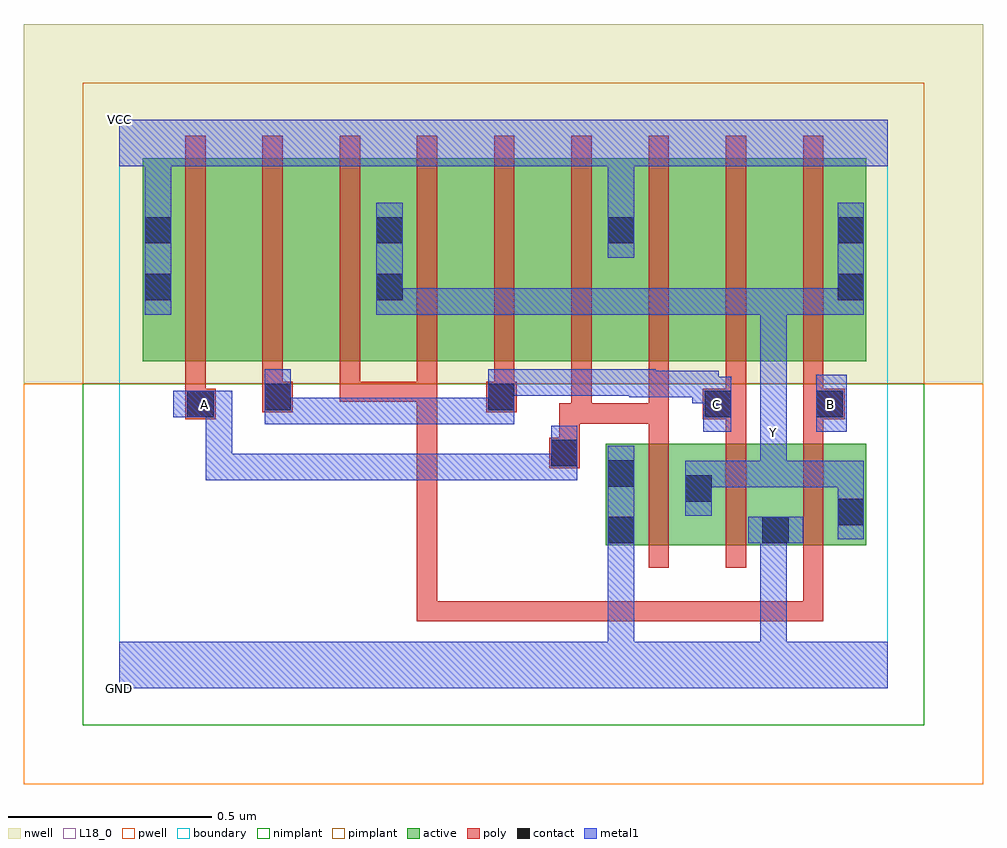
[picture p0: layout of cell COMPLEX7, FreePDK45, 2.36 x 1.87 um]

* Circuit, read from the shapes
.subckt COMPLEX7 A B C GND VCC Y
M1 Y A GND VSUBS nfet w=0.25u l=0.05u
M2 GND C Y VSUBS nfet w=0.25u l=0.05u
M3 Y B GND VSUBS nfet w=0.25u l=0.05u
M4 n1 A VCC n2 pfet w=0.5u l=0.05u
M5 n3 C n1 n2 pfet w=0.5u l=0.05u
M6 Y B n3 n2 pfet w=0.5u l=0.05u
M7 n4 B Y n2 pfet w=0.5u l=0.05u
M8 n5 C n4 n2 pfet w=0.5u l=0.05u
M9 VCC A n5 n2 pfet w=0.5u l=0.05u
M10 n6 A VCC n2 pfet w=0.5u l=0.05u
M11 n7 C n6 n2 pfet w=0.5u l=0.05u
M12 Y B n7 n2 pfet w=0.5u l=0.05u
.ends

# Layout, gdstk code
import gdstk
lib = gdstk.Library(unit=1e-6, precision=1e-09)
def R(c, l, rs):  # rectangles x0, y0, x1, y1
    for r in rs: c.add(gdstk.rectangle(r[:2], r[2:], *l))
def A(c, l, x, y, w, h, nx, ny, dx, dy):  # array of equal rectangles
    R(c, l, [(x+i*dx, y+j*dy, x+i*dx+w, y+j*dy+h) for i in range(nx) for j in range(ny)])
active = (1, 0)
pwell = (2, 0)
nwell = (3, 0)
nimplant = (4, 0)
pimplant = (5, 0)
poly = (9, 0)
contact = (10, 0)
metal1 = (11, 0)
L18_0 = (18, 0)
boundary = (235, 0)

complex7 = lib.new_cell('COMPLEX7')
A(complex7, active, 0.057, 0.805, 0.225, 0.5, 3, 1, 0.57, 0)
A(complex7, active, 0.282, 0.805, 0.19, 0.5, 3, 1, 0.57, 0)
R(complex7, active, [(1.197,0.352,1.462,0.602), (1.197,0.352,1.272,0.602), (1.387,0.352,1.652,0.602), (1.387,0.352,1.462,0.53), (1.577,0.352,1.837,0.602), (1.577,0.352,1.652,0.462), (1.762,0.382,1.837,0.602), (0.057,0.805,0.132,1.305), (0.472,0.805,0.702,1.305), (0.627,0.805,0.702,1.2), (1.042,0.805,1.272,1.305), (1.197,0.805,1.272,1.305), (1.612,0.805,1.837,1.305), (1.762,0.805,1.837,1.2)])
R(complex7, pwell, [(-0.235,-0.235,2.125,0.75)])
R(complex7, nwell, [(-0.235,0.75,2.125,1.635)])
R(complex7, nimplant, [(-0.09,-0.09,1.98,0.75)])
R(complex7, pimplant, [(-0.09,0.75,1.98,1.49)])
A(complex7, poly, 1.302, 0.297, 0.05, 0.36, 3, 1, 0.19, 0)
A(complex7, poly, 0.352, 0.705, 0.05, 0.095, 4, 1, 0.19, 0)
A(complex7, poly, 0.162, 0.75, 0.05, 0.61, 9, 1, 0.19, 0)
R(complex7, poly, [(0.732,0.165,0.782,0.215), (0.732,0.165,0.782,0.215), (0.732,0.165,0.782,0.215), (0.732,0.165,0.915,0.215), (0.732,0.165,0.782,0.755), (0.865,0.165,0.915,0.215), (0.865,0.165,1.162,0.215), (1.112,0.165,1.162,0.215), (1.112,0.165,1.162,0.215), (1.112,0.165,1.162,0.215), (1.112,0.165,1.295,0.215), (1.245,0.165,1.295,0.215), (1.245,0.165,1.295,0.215), (1.245,0.165,1.295,0.215), (1.245,0.165,1.485,0.215), (1.435,0.165,1.485,0.215), (1.435,0.165,1.485,0.215), (1.435,0.165,1.485,0.215), (1.435,0.165,1.732,0.215), (1.682,0.165,1.732,0.347), (1.682,0.165,1.732,0.215), (1.682,0.165,1.732,0.215), (1.682,0.165,1.732,0.215), (1.057,0.542,1.132,0.617), (1.082,0.567,1.132,0.617), (1.082,0.567,1.132,0.617), (1.082,0.567,1.132,0.702), (1.302,0.607,1.352,0.702), (1.492,0.607,1.542,0.712), (1.682,0.607,1.732,0.712), (1.082,0.652,1.162,0.702), (1.112,0.652,1.352,0.702), (1.112,0.652,1.162,0.8), (1.302,0.652,1.352,0.702), (1.302,0.652,1.352,0.702), (1.302,0.652,1.352,0.702), (1.302,0.652,1.352,0.8), (0.162,0.662,0.237,0.737), (1.435,0.662,1.542,0.737), (1.682,0.662,1.785,0.737), (0.352,0.68,0.427,0.755), (0.902,0.68,0.977,0.755), (0.162,0.687,0.212,0.8), (1.492,0.687,1.542,0.8), (1.682,0.687,1.732,0.8), (0.542,0.705,0.592,0.755), (0.542,0.705,0.592,0.755), (0.542,0.705,0.592,0.755), (0.542,0.705,0.782,0.755), (0.732,0.705,0.782,0.755), (0.732,0.705,0.782,0.755), (0.732,0.705,0.782,0.755), (0.732,0.705,0.782,0.755), (0.732,0.705,0.782,0.755)])
A(complex7, contact, 0.062, 1.095, 0.065, 0.065, 3, 1, 0.57, 0)
R(complex7, contact, [(1.202,0.357,1.267,0.422), (1.582,0.357,1.647,0.422), (1.767,0.402,1.832,0.467), (1.392,0.46,1.457,0.525), (1.202,0.497,1.267,0.562), (1.062,0.547,1.127,0.612), (0.167,0.667,0.232,0.732), (1.44,0.667,1.505,0.732), (1.715,0.667,1.78,0.732), (0.357,0.685,0.422,0.75), (0.907,0.685,0.972,0.75), (0.062,0.955,0.127,1.02), (0.632,0.955,0.697,1.02), (1.767,0.955,1.832,1.02), (1.767,1.095,1.832,1.16)])
R(complex7, metal1, [(0,0,1.89,0.115), (1.202,0.05,1.267,0.115), (1.202,0.05,1.267,0.115), (1.202,0.05,1.267,0.115), (1.202,0.05,1.267,0.115), (1.202,0.05,1.267,0.115), (1.202,0.05,1.267,0.115), (1.202,0.05,1.267,0.387), (1.577,0.05,1.642,0.115), (1.577,0.05,1.642,0.115), (1.577,0.05,1.642,0.115), (1.577,0.05,1.642,0.115), (1.577,0.05,1.642,0.115), (1.577,0.05,1.642,0.115), (1.577,0.05,1.642,0.422), (1.202,0.322,1.267,0.597), (1.547,0.357,1.682,0.422), (1.767,0.367,1.832,0.502), (1.392,0.425,1.457,0.56), (1.767,0.437,1.832,0.502), (1.767,0.437,1.832,0.56), (1.392,0.495,1.642,0.56), (1.577,0.495,1.642,0.56), (1.577,0.495,1.642,0.56), (1.577,0.495,1.642,0.56), (1.577,0.495,1.832,0.56), (1.577,0.495,1.642,0.627), (0.212,0.512,0.277,0.577), (0.212,0.512,0.415,0.577), (0.212,0.512,0.277,0.732), (0.35,0.512,0.415,0.577), (0.35,0.512,0.415,0.577), (0.35,0.512,0.415,0.577), (0.35,0.512,0.56,0.577), (0.495,0.512,0.56,0.577), (0.495,0.512,0.56,0.577), (0.495,0.512,0.56,0.577), (0.495,0.512,0.697,0.577), (0.632,0.512,0.697,0.577), (0.632,0.512,0.835,0.577), (0.77,0.512,0.835,0.577), (0.77,0.512,0.972,0.577), (0.907,0.512,0.972,0.577), (0.907,0.512,0.972,0.577), (0.907,0.512,0.972,0.577), (0.907,0.512,0.972,0.577), (0.907,0.512,0.972,0.577), (0.907,0.512,1.127,0.577), (1.062,0.512,1.127,0.647), (1.577,0.562,1.642,0.697), (1.437,0.632,1.505,0.767), (1.577,0.632,1.642,0.985), (1.715,0.632,1.79,0.772), (0.357,0.65,0.422,0.715), (0.357,0.65,0.422,0.715), (0.357,0.65,0.422,0.785), (0.357,0.65,0.56,0.715), (0.495,0.65,0.56,0.715), (0.495,0.65,0.56,0.715), (0.495,0.65,0.56,0.715), (0.495,0.65,0.697,0.715), (0.632,0.65,0.697,0.715), (0.632,0.65,0.835,0.715), (0.77,0.65,0.835,0.715), (0.77,0.65,0.972,0.715), (0.907,0.65,0.972,0.785), (0.132,0.667,0.277,0.732), (0.212,0.667,0.277,0.732), (0.212,0.667,0.277,0.732), (1.41,0.702,1.502,0.767), (1.41,0.702,1.475,0.782), (1.255,0.717,1.475,0.782), (1.255,0.717,1.32,0.785), (0.907,0.72,0.972,0.785), (0.907,0.72,0.972,0.785), (0.907,0.72,1.11,0.785), (1.045,0.72,1.11,0.785), (1.045,0.72,1.32,0.785), (1.255,0.72,1.32,0.785), (1.255,0.72,1.32,0.785), (0.062,0.92,0.127,1.195), (0.632,0.92,0.697,0.985), (0.632,0.92,0.697,0.985), (0.632,0.92,0.697,1.195), (0.632,0.92,0.835,0.985), (0.77,0.92,0.835,0.985), (0.77,0.92,0.972,0.985), (0.907,0.92,0.972,0.985), (0.907,0.92,0.972,0.985), (0.907,0.92,0.972,0.985), (0.907,0.92,1.182,0.985), (1.117,0.92,1.182,0.985), (1.117,0.92,1.182,0.985), (1.117,0.92,1.182,0.985), (1.117,0.92,1.32,0.985), (1.255,0.92,1.32,0.985), (1.255,0.92,1.457,0.985), (1.392,0.92,1.457,0.985), (1.392,0.92,1.642,0.985), (1.577,0.92,1.642,0.985), (1.577,0.92,1.642,0.985), (1.577,0.92,1.642,0.985), (1.577,0.92,1.832,0.985), (1.767,0.92,1.832,0.985), (1.767,0.92,1.832,0.985), (1.767,0.92,1.832,1.195), (1.202,1.06,1.267,1.195), (0.062,1.13,0.127,1.35), (1.202,1.13,1.267,1.35), (0,1.285,1.89,1.4)])
R(complex7, L18_0, [(0,0,1.89,0.115), (1.202,0.05,1.267,0.115), (1.202,0.05,1.267,0.115), (1.202,0.05,1.267,0.115), (1.202,0.05,1.267,0.115), (1.202,0.05,1.267,0.115), (1.202,0.05,1.267,0.115), (1.202,0.05,1.267,0.387), (1.577,0.05,1.642,0.115), (1.577,0.05,1.642,0.115), (1.577,0.05,1.642,0.115), (1.577,0.05,1.642,0.115), (1.577,0.05,1.642,0.115), (1.577,0.05,1.642,0.115), (1.577,0.05,1.642,0.422), (1.202,0.322,1.267,0.597), (1.547,0.357,1.682,0.422), (1.767,0.367,1.832,0.502), (1.392,0.425,1.457,0.56), (1.767,0.437,1.832,0.502), (1.767,0.437,1.832,0.56), (1.392,0.495,1.642,0.56), (1.577,0.495,1.642,0.56), (1.577,0.495,1.642,0.56), (1.577,0.495,1.642,0.56), (1.577,0.495,1.642,0.627), (1.577,0.495,1.832,0.56), (0.212,0.512,0.277,0.732), (0.212,0.512,0.277,0.577), (0.212,0.512,0.415,0.577), (0.35,0.512,0.415,0.577), (0.35,0.512,0.415,0.577), (0.35,0.512,0.415,0.577), (0.35,0.512,0.56,0.577), (0.495,0.512,0.56,0.577), (0.495,0.512,0.56,0.577), (0.495,0.512,0.56,0.577), (0.495,0.512,0.697,0.577), (0.632,0.512,0.697,0.577), (0.632,0.512,0.835,0.577), (0.77,0.512,0.835,0.577), (0.77,0.512,0.972,0.577), (0.907,0.512,0.972,0.577), (0.907,0.512,0.972,0.577), (0.907,0.512,0.972,0.577), (0.907,0.512,0.972,0.577), (0.907,0.512,0.972,0.577), (0.907,0.512,1.127,0.577), (1.062,0.512,1.127,0.647), (1.577,0.562,1.642,0.697), (1.577,0.597,1.642,0.662), (1.437,0.632,1.505,0.767), (1.577,0.632,1.642,0.985), (1.715,0.632,1.79,0.772), (0.357,0.65,0.422,0.715), (0.357,0.65,0.422,0.715), (0.357,0.65,0.56,0.715), (0.357,0.65,0.422,0.785), (0.495,0.65,0.56,0.715), (0.495,0.65,0.56,0.715), (0.495,0.65,0.56,0.715), (0.495,0.65,0.697,0.715), (0.632,0.65,0.697,0.715), (0.632,0.65,0.835,0.715), (0.77,0.65,0.835,0.715), (0.77,0.65,0.972,0.715), (0.907,0.65,0.972,0.785), (0.132,0.667,0.277,0.732), (0.177,0.667,0.242,0.732), (0.212,0.667,0.277,0.732), (0.212,0.667,0.277,0.732), (1.437,0.667,1.502,0.732), (1.717,0.667,1.782,0.732), (1.41,0.702,1.475,0.782), (1.41,0.702,1.502,0.767), (1.255,0.717,1.475,0.782), (1.255,0.717,1.32,0.785), (0.907,0.72,0.972,0.785), (0.907,0.72,0.972,0.785), (0.907,0.72,1.11,0.785), (1.045,0.72,1.11,0.785), (1.045,0.72,1.32,0.785), (1.255,0.72,1.32,0.785), (1.255,0.72,1.32,0.785), (0.062,0.92,0.127,1.195), (0.632,0.92,0.697,1.195), (0.632,0.92,0.697,0.985), (0.632,0.92,0.697,0.985), (0.632,0.92,0.835,0.985), (0.77,0.92,0.835,0.985), (0.77,0.92,0.972,0.985), (0.907,0.92,0.972,0.985), (0.907,0.92,0.972,0.985), (0.907,0.92,0.972,0.985), (0.907,0.92,1.182,0.985), (1.117,0.92,1.182,0.985), (1.117,0.92,1.182,0.985), (1.117,0.92,1.182,0.985), (1.117,0.92,1.32,0.985), (1.255,0.92,1.32,0.985), (1.255,0.92,1.457,0.985), (1.392,0.92,1.457,0.985), (1.392,0.92,1.642,0.985), (1.577,0.92,1.642,0.985), (1.577,0.92,1.642,0.985), (1.577,0.92,1.642,0.985), (1.577,0.92,1.832,0.985), (1.767,0.92,1.832,1.195), (1.767,0.92,1.832,0.985), (1.767,0.92,1.832,0.985), (1.202,1.06,1.267,1.195), (0.062,1.13,0.127,1.35), (1.202,1.13,1.267,1.35), (0,1.285,1.89,1.4)])
R(complex7, boundary, [(0,0,1.89,1.4)])
complex7.add(gdstk.Label('A', (0.21,0.7), layer=11, texttype=0))
complex7.add(gdstk.Label('B', (1.75,0.7), layer=11, texttype=0))
complex7.add(gdstk.Label('C', (1.47,0.7), layer=11, texttype=0))
complex7.add(gdstk.Label('Y', (1.61,0.63), layer=11, texttype=0))
complex7.add(gdstk.Label('VCC', (0,1.4), layer=11, texttype=0))
complex7.add(gdstk.Label('GND', (0,0), layer=11, texttype=0))

lib.write_gds('COMPLEX7.gds')
